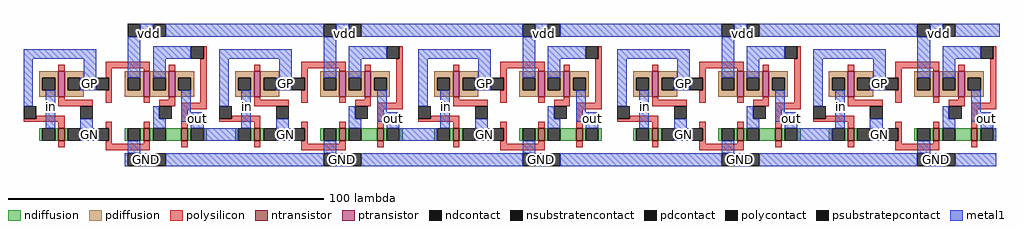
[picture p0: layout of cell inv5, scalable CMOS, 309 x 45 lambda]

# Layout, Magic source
magic
tech scmos
<< polysilicon >>
rect 57 34 58 38
rect 119 34 120 38
rect 182 34 183 38
rect 245 34 246 38
rect 307 34 308 38
rect 11 30 13 32
rect 26 31 40 33
rect 26 28 28 31
rect 38 30 40 31
rect 46 30 48 32
rect 27 24 28 28
rect 11 21 13 22
rect 11 19 22 21
rect 26 20 28 24
rect 38 20 40 22
rect 46 21 48 22
rect 4 15 13 16
rect 43 19 48 21
rect 56 20 58 34
rect 73 30 75 32
rect 88 31 102 33
rect 88 28 90 31
rect 100 30 102 31
rect 108 30 110 32
rect 89 24 90 28
rect 50 18 58 20
rect 73 21 75 22
rect 73 19 84 21
rect 88 20 90 24
rect 100 20 102 22
rect 108 21 110 22
rect 0 14 13 15
rect 11 12 13 14
rect 26 12 28 14
rect 38 12 40 14
rect 50 12 52 18
rect 66 15 75 16
rect 105 19 110 21
rect 118 20 120 34
rect 136 30 138 32
rect 151 31 165 33
rect 151 28 153 31
rect 163 30 165 31
rect 171 30 173 32
rect 152 24 153 28
rect 112 18 120 20
rect 136 21 138 22
rect 136 19 147 21
rect 151 20 153 24
rect 163 20 165 22
rect 171 21 173 22
rect 62 14 75 15
rect 73 12 75 14
rect 88 12 90 14
rect 100 12 102 14
rect 112 12 114 18
rect 129 15 138 16
rect 168 19 173 21
rect 181 20 183 34
rect 199 30 201 32
rect 214 31 228 33
rect 214 28 216 31
rect 226 30 228 31
rect 234 30 236 32
rect 215 24 216 28
rect 175 18 183 20
rect 199 21 201 22
rect 199 19 210 21
rect 214 20 216 24
rect 226 20 228 22
rect 234 21 236 22
rect 125 14 138 15
rect 136 12 138 14
rect 151 12 153 14
rect 163 12 165 14
rect 175 12 177 18
rect 192 15 201 16
rect 231 19 236 21
rect 244 20 246 34
rect 261 30 263 32
rect 276 31 290 33
rect 276 28 278 31
rect 288 30 290 31
rect 296 30 298 32
rect 277 24 278 28
rect 238 18 246 20
rect 261 21 263 22
rect 261 19 272 21
rect 276 20 278 24
rect 288 20 290 22
rect 296 21 298 22
rect 188 14 201 15
rect 199 12 201 14
rect 214 12 216 14
rect 226 12 228 14
rect 238 12 240 18
rect 254 15 263 16
rect 293 19 298 21
rect 306 20 308 34
rect 300 18 308 20
rect 250 14 263 15
rect 261 12 263 14
rect 276 12 278 14
rect 288 12 290 14
rect 300 12 302 18
rect 27 8 28 12
rect 89 8 90 12
rect 152 8 153 12
rect 215 8 216 12
rect 277 8 278 12
rect 11 6 13 8
rect 26 7 28 8
rect 38 7 40 8
rect 26 5 40 7
rect 50 6 52 8
rect 73 6 75 8
rect 88 7 90 8
rect 100 7 102 8
rect 88 5 102 7
rect 112 6 114 8
rect 136 6 138 8
rect 151 7 153 8
rect 163 7 165 8
rect 151 5 165 7
rect 175 6 177 8
rect 199 6 201 8
rect 214 7 216 8
rect 226 7 228 8
rect 214 5 228 7
rect 238 6 240 8
rect 261 6 263 8
rect 276 7 278 8
rect 288 7 290 8
rect 276 5 290 7
rect 300 6 302 8
<< ndiffusion >>
rect 5 8 6 12
rect 10 8 11 12
rect 13 8 14 12
rect 18 8 19 12
rect 32 8 33 12
rect 37 8 38 12
rect 40 8 41 12
rect 45 8 50 12
rect 52 8 53 12
rect 57 8 58 12
rect 67 8 68 12
rect 72 8 73 12
rect 75 8 76 12
rect 80 8 81 12
rect 94 8 95 12
rect 99 8 100 12
rect 102 8 103 12
rect 107 8 112 12
rect 114 8 115 12
rect 119 8 120 12
rect 130 8 131 12
rect 135 8 136 12
rect 138 8 139 12
rect 143 8 144 12
rect 157 8 158 12
rect 162 8 163 12
rect 165 8 166 12
rect 170 8 175 12
rect 177 8 178 12
rect 182 8 183 12
rect 193 8 194 12
rect 198 8 199 12
rect 201 8 202 12
rect 206 8 207 12
rect 220 8 221 12
rect 225 8 226 12
rect 228 8 229 12
rect 233 8 238 12
rect 240 8 241 12
rect 245 8 246 12
rect 255 8 256 12
rect 260 8 261 12
rect 263 8 264 12
rect 268 8 269 12
rect 282 8 283 12
rect 287 8 288 12
rect 290 8 291 12
rect 295 8 300 12
rect 302 8 303 12
rect 307 8 308 12
<< pdiffusion >>
rect 5 28 11 30
rect 5 24 6 28
rect 10 24 11 28
rect 5 22 11 24
rect 13 28 19 30
rect 13 24 14 28
rect 18 24 19 28
rect 13 22 19 24
rect 32 28 38 30
rect 32 24 33 28
rect 37 24 38 28
rect 32 22 38 24
rect 40 28 46 30
rect 40 24 41 28
rect 45 24 46 28
rect 40 22 46 24
rect 48 28 54 30
rect 48 24 49 28
rect 53 24 54 28
rect 48 22 54 24
rect 67 28 73 30
rect 67 24 68 28
rect 72 24 73 28
rect 67 22 73 24
rect 75 28 81 30
rect 75 24 76 28
rect 80 24 81 28
rect 75 22 81 24
rect 94 28 100 30
rect 94 24 95 28
rect 99 24 100 28
rect 94 22 100 24
rect 102 28 108 30
rect 102 24 103 28
rect 107 24 108 28
rect 102 22 108 24
rect 110 28 116 30
rect 110 24 111 28
rect 115 24 116 28
rect 110 22 116 24
rect 130 28 136 30
rect 130 24 131 28
rect 135 24 136 28
rect 130 22 136 24
rect 138 28 144 30
rect 138 24 139 28
rect 143 24 144 28
rect 138 22 144 24
rect 157 28 163 30
rect 157 24 158 28
rect 162 24 163 28
rect 157 22 163 24
rect 165 28 171 30
rect 165 24 166 28
rect 170 24 171 28
rect 165 22 171 24
rect 173 28 179 30
rect 173 24 174 28
rect 178 24 179 28
rect 173 22 179 24
rect 193 28 199 30
rect 193 24 194 28
rect 198 24 199 28
rect 193 22 199 24
rect 201 28 207 30
rect 201 24 202 28
rect 206 24 207 28
rect 201 22 207 24
rect 220 28 226 30
rect 220 24 221 28
rect 225 24 226 28
rect 220 22 226 24
rect 228 28 234 30
rect 228 24 229 28
rect 233 24 234 28
rect 228 22 234 24
rect 236 28 242 30
rect 236 24 237 28
rect 241 24 242 28
rect 236 22 242 24
rect 255 28 261 30
rect 255 24 256 28
rect 260 24 261 28
rect 255 22 261 24
rect 263 28 269 30
rect 263 24 264 28
rect 268 24 269 28
rect 263 22 269 24
rect 282 28 288 30
rect 282 24 283 28
rect 287 24 288 28
rect 282 22 288 24
rect 290 28 296 30
rect 290 24 291 28
rect 295 24 296 28
rect 290 22 296 24
rect 298 28 304 30
rect 298 24 299 28
rect 303 24 304 28
rect 298 22 304 24
<< metal1 >>
rect 37 41 41 45
rect 45 41 95 45
rect 99 41 103 45
rect 107 41 158 45
rect 162 41 166 45
rect 170 41 221 45
rect 225 41 229 45
rect 233 41 283 45
rect 287 41 291 45
rect 295 41 309 45
rect 0 34 23 37
rect 0 19 3 34
rect 19 28 23 34
rect 33 28 37 41
rect 18 24 23 28
rect 41 34 53 38
rect 62 34 85 37
rect 41 28 45 34
rect 7 12 10 24
rect 18 12 22 15
rect 41 15 43 19
rect 50 17 53 24
rect 62 19 65 34
rect 81 28 85 34
rect 95 28 99 41
rect 80 24 85 28
rect 103 34 115 38
rect 125 34 148 37
rect 103 28 107 34
rect 41 12 45 15
rect 50 14 57 17
rect 18 8 23 12
rect 53 12 57 14
rect 69 12 72 24
rect 80 12 84 15
rect 103 15 105 19
rect 112 17 115 24
rect 125 19 128 34
rect 144 28 148 34
rect 158 28 162 41
rect 143 24 148 28
rect 166 34 178 38
rect 188 34 211 37
rect 166 28 170 34
rect 103 12 107 15
rect 112 14 119 17
rect 57 8 68 12
rect 80 8 85 12
rect 115 12 119 14
rect 132 12 135 24
rect 143 12 147 15
rect 166 15 168 19
rect 175 17 178 24
rect 188 19 191 34
rect 207 28 211 34
rect 221 28 225 41
rect 206 24 211 28
rect 229 34 241 38
rect 250 34 273 37
rect 229 28 233 34
rect 166 12 170 15
rect 175 14 182 17
rect 119 8 131 12
rect 143 8 148 12
rect 178 12 182 14
rect 195 12 198 24
rect 206 12 210 15
rect 229 15 231 19
rect 238 17 241 24
rect 250 19 253 34
rect 269 28 273 34
rect 283 28 287 41
rect 268 24 273 28
rect 291 34 303 38
rect 291 28 295 34
rect 229 12 233 15
rect 238 14 245 17
rect 206 8 211 12
rect 241 12 245 14
rect 257 12 260 24
rect 268 12 272 15
rect 291 15 293 19
rect 300 17 303 24
rect 291 12 295 15
rect 300 14 307 17
rect 245 8 256 12
rect 268 8 273 12
rect 303 12 307 14
rect 307 8 308 12
rect 33 4 37 8
rect 95 4 99 8
rect 158 4 162 8
rect 221 4 225 8
rect 283 4 287 8
rect 32 0 33 4
rect 37 0 41 4
rect 45 0 95 4
rect 99 0 103 4
rect 107 0 158 4
rect 162 0 166 4
rect 170 0 221 4
rect 225 0 229 4
rect 233 0 283 4
rect 287 0 291 4
rect 295 0 308 4
<< ntransistor >>
rect 11 8 13 12
rect 38 8 40 12
rect 50 8 52 12
rect 73 8 75 12
rect 100 8 102 12
rect 112 8 114 12
rect 136 8 138 12
rect 163 8 165 12
rect 175 8 177 12
rect 199 8 201 12
rect 226 8 228 12
rect 238 8 240 12
rect 261 8 263 12
rect 288 8 290 12
rect 300 8 302 12
<< ptransistor >>
rect 11 22 13 30
rect 38 22 40 30
rect 46 22 48 30
rect 73 22 75 30
rect 100 22 102 30
rect 108 22 110 30
rect 136 22 138 30
rect 163 22 165 30
rect 171 22 173 30
rect 199 22 201 30
rect 226 22 228 30
rect 234 22 236 30
rect 261 22 263 30
rect 288 22 290 30
rect 296 22 298 30
<< polycontact >>
rect 53 34 57 38
rect 115 34 119 38
rect 178 34 182 38
rect 241 34 245 38
rect 303 34 307 38
rect 23 24 27 28
rect 0 15 4 19
rect 18 15 22 19
rect 85 24 89 28
rect 43 15 47 19
rect 62 15 66 19
rect 80 15 84 19
rect 148 24 152 28
rect 105 15 109 19
rect 125 15 129 19
rect 143 15 147 19
rect 211 24 215 28
rect 168 15 172 19
rect 188 15 192 19
rect 206 15 210 19
rect 273 24 277 28
rect 231 15 235 19
rect 250 15 254 19
rect 268 15 272 19
rect 293 15 297 19
rect 23 8 27 12
rect 85 8 89 12
rect 148 8 152 12
rect 211 8 215 12
rect 273 8 277 12
<< ndcontact >>
rect 6 8 10 12
rect 14 8 18 12
rect 33 8 37 12
rect 41 8 45 12
rect 53 8 57 12
rect 68 8 72 12
rect 76 8 80 12
rect 95 8 99 12
rect 103 8 107 12
rect 115 8 119 12
rect 131 8 135 12
rect 139 8 143 12
rect 158 8 162 12
rect 166 8 170 12
rect 178 8 182 12
rect 194 8 198 12
rect 202 8 206 12
rect 221 8 225 12
rect 229 8 233 12
rect 241 8 245 12
rect 256 8 260 12
rect 264 8 268 12
rect 283 8 287 12
rect 291 8 295 12
rect 303 8 307 12
<< pdcontact >>
rect 6 24 10 28
rect 14 24 18 28
rect 33 24 37 28
rect 41 24 45 28
rect 49 24 53 28
rect 68 24 72 28
rect 76 24 80 28
rect 95 24 99 28
rect 103 24 107 28
rect 111 24 115 28
rect 131 24 135 28
rect 139 24 143 28
rect 158 24 162 28
rect 166 24 170 28
rect 174 24 178 28
rect 194 24 198 28
rect 202 24 206 28
rect 221 24 225 28
rect 229 24 233 28
rect 237 24 241 28
rect 256 24 260 28
rect 264 24 268 28
rect 283 24 287 28
rect 291 24 295 28
rect 299 24 303 28
<< psubstratepcontact >>
rect 33 0 37 4
rect 41 0 45 4
rect 95 0 99 4
rect 103 0 107 4
rect 158 0 162 4
rect 166 0 170 4
rect 221 0 225 4
rect 229 0 233 4
rect 283 0 287 4
rect 291 0 295 4
<< nsubstratencontact >>
rect 33 41 37 45
rect 41 41 45 45
rect 95 41 99 45
rect 103 41 107 45
rect 158 41 162 45
rect 166 41 170 45
rect 221 41 225 45
rect 229 41 233 45
rect 283 41 287 45
rect 291 41 295 45
<< labels >>
rlabel metal1 39 2 39 2 1 GND
rlabel metal1 21 26 21 26 1 GP
rlabel metal1 21 10 21 10 1 GN
rlabel metal1 9 19 9 19 1 in
rlabel metal1 40 42 40 42 5 vdd
rlabel metal1 55 15 55 15 7 out
rlabel metal1 101 2 101 2 1 GND
rlabel metal1 83 26 83 26 1 GP
rlabel metal1 83 10 83 10 1 GN
rlabel metal1 71 19 71 19 1 in
rlabel metal1 102 42 102 42 5 vdd
rlabel metal1 117 15 117 15 7 out
rlabel metal1 164 2 164 2 1 GND
rlabel metal1 146 26 146 26 1 GP
rlabel metal1 146 10 146 10 1 GN
rlabel metal1 134 19 134 19 1 in
rlabel metal1 165 42 165 42 5 vdd
rlabel metal1 180 15 180 15 7 out
rlabel metal1 227 2 227 2 1 GND
rlabel metal1 209 26 209 26 1 GP
rlabel metal1 209 10 209 10 1 GN
rlabel metal1 197 19 197 19 1 in
rlabel metal1 228 42 228 42 5 vdd
rlabel metal1 243 15 243 15 7 out
rlabel metal1 289 2 289 2 1 GND
rlabel metal1 271 26 271 26 1 GP
rlabel metal1 271 10 271 10 1 GN
rlabel metal1 259 19 259 19 1 in
rlabel metal1 290 42 290 42 5 vdd
rlabel metal1 305 15 305 15 7 out
<< end >>
